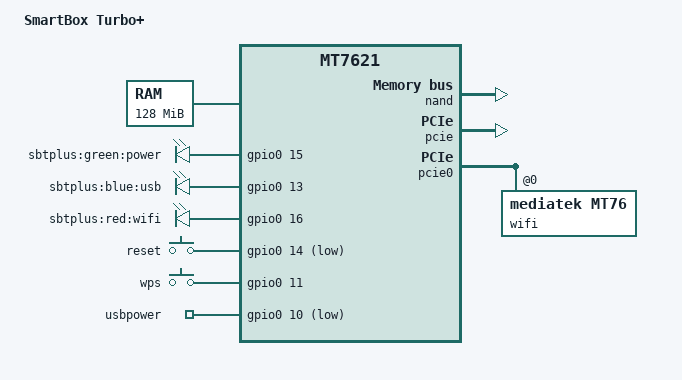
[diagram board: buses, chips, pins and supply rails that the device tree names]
// SPDX-License-Identifier: GPL-2.0
/dts-v1/;

#include "mt7621.dtsi"

#include <dt-bindings/gpio/gpio.h>
#include <dt-bindings/input/input.h>

/ {
	compatible = "beeline,sbtplus", "mediatek,mt7621-soc";
	model = "SmartBox Turbo+";

	aliases {
		led-boot = &led_power;
		led-failsafe = &led_power;
		led-running = &led_power;
		led-upgrade = &led_power;
	};

	memory@0 {
		device_type = "memory";
		reg = <0x0 0x8000000>;
	};

	chosen {
		bootargs = "console=ttyS0,57600";
	};

	leds {
		compatible = "gpio-leds";

		led_power: power {
			label = "sbtplus:green:power";
			gpios = <&gpio0 15 GPIO_ACTIVE_HIGH>;
		};


		usb {
			label = "sbtplus:blue:usb";
			gpios = <&gpio0 13 GPIO_ACTIVE_HIGH>;
			trigger-sources = <&xhci_ehci_port1>, <&ehci_port2>;
			linux,default-trigger = "usbport";
		};

		wifi {
			label = "sbtplus:red:wifi";
			gpios = <&gpio0 16 GPIO_ACTIVE_HIGH>;
		};
	};

	keys {
		compatible = "gpio-keys-polled";
		poll-interval = <20>;

		reset {
			label = "reset";
			gpios = <&gpio0 14 GPIO_ACTIVE_LOW>;
			linux,code = <KEY_RESTART>;
		};
		wps {
			label = "wps";
			gpios = <&gpio0 11 GPIO_ACTIVE_HIGH>;
			linux,code = <KEY_WPS_BUTTON>;
		};
	};

	gpio_export {
		compatible = "gpio-export";
		#size-cells = <0>;

		usbpower {
			gpio-export,name = "usbpower";
			gpio-export,output = <1>;
			gpios = <&gpio0 10 GPIO_ACTIVE_LOW>;
		};
	};
};

&nand {
	status = "okay";

	partitions {
		compatible = "fixed-partitions";
		#address-cells = <1>;
		#size-cells = <1>;

		partition@0 {
			label = "u-boot";
			reg = <0x0 0x100000>;
			read-only;
		};

		partition@100000 {
			label = "SC PART_MAP";
			reg = <0x100000 0x100000>;
			read-only;
		};

		partition@800000 {
			label = "kernel";
			reg = <0x200000 0x400000>;
		};

		partition@600000 {
			label = "ubi";
			reg = <0x600000 0x7800000>;
		};

		factory: partition@7e00000 {
			label = "factory";
			reg = <0x7e00000 0x100000>;
			read-only;
		};

	};
};

&pcie {
	status = "okay";
};

&pcie0 {
	wifi@0,0 {
		compatible = "mediatek,mt76";
		reg = <0x0 0 0 0 0>;
		mediatek,mtd-eeprom = <&factory 0x8000>;
		ieee80211-freq-limit = <5000000 6000000>;
	};
};

&pcie1 {
	wifi@0,0 {
		reg = <0x0 0 0 0 0>;
		mediatek,mtd-eeprom = <&factory 0x0>;
		ieee80211-freq-limit = <2400000 2500000>;
	};
};

&ethernet {
	mtd-mac-address = <&factory 0x4>;
};

&pinctrl {
	state_default: pinctrl0 {
		gpio {
			ralink,group = "uart2", "jtag", "wdt";
			ralink,function = "gpio";
		};
	};
};
